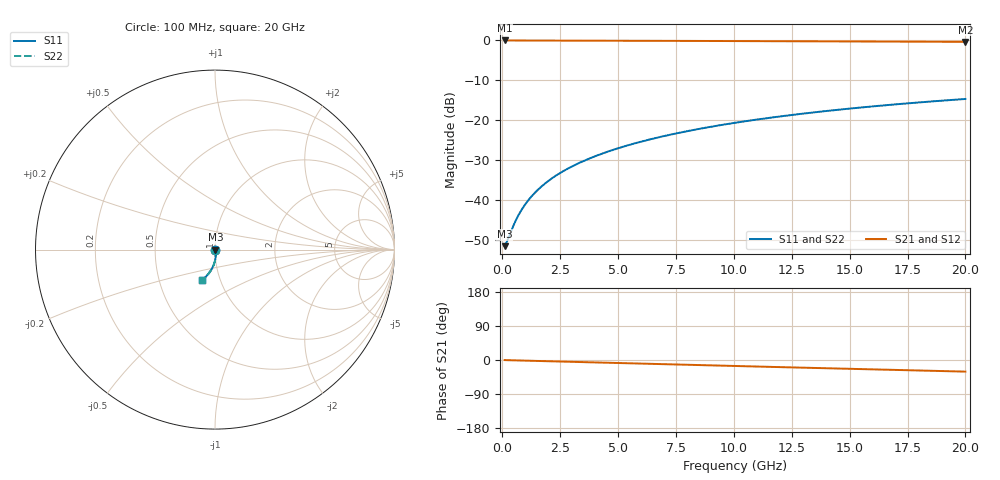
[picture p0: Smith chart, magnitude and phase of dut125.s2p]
! Touchstone file exported from HFSS 2026.1.0
!  File:  C:/ffzhzh/LocalFiles/Ansys_Project_Files/temp_train_TMRDL_125_1782982698_45328.aedt
!  Generated:  04:59:22 PM Jul  2, 2026
!  Design:  TMRDL
!  Project:  temp_train_TMRDL_125_1782982698_45328
! Variables:
!  h_bsmrdl = 2um
!  h_ox = 20um
!  h_rdl = 5um
!  h_sub = 80um
!  h_tmrdl = 3.75um
!  h_tsv = 80um
!  h_via = 3um
!  l_bsmrdl = 300um
!  l_sub = 902.95um
!  l_tmrdl = 502.95um
!  m_sub = 200um
!  pitch = 21.31um
!  r_tsv = 6um
!  s_tmrdl = 10um
!  w_bsmrdl = 18um
!  w_sub = 500um
!  w_tmrdl = 19.72um
!  x_tsv_center1 = 512.81um
!  x_tsv_center2 = 830.81um
!  x_tsv_center3 = 1353.48um
!  x_tsv_center4 = 1671.48um
!  x_tsv_center5 = 2194.15um
!  x_tsv_center6 = 2512.15um
# GHz S MA R 50.000000
! Terminal data exported
! Port[1] = TM_RDL1_1_T1
! Port[2] = TM_RDL1_1_T2
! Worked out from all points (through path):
!   200 points, 100 MHz to 20 GHz, reference 50 ohm
!   highest |S21| = -0.02 dB at 100 MHz (marker M1); lowest = -0.4 dB at 20 GHz (marker M2)
!   group delay of S21, straight-line fit = 4.24 ps
!   lowest |S11| = -51.4 dB at 100 MHz (marker M3), VSWR 1.01, Z = 50.3 - j0.0235 ohm
!   |S11| at or under -10 dB: start of sweep to end of sweep
!   |S22| runs from -51.4 to -14.6 dB; largest |S21 - S12| = 4e-15
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0.1  0.002681 -5.0  0.9973 -0.2  0.9973 -0.2  0.00268 -5.0
! Gamma 0 0 0 0
! Port Impedance 50 0 50 0
0.2  0.003057 -11.3  0.997 -0.4  0.997 -0.4  0.003057 -11.3
0.5  0.00498 -32.8  0.9958 -0.9  0.9958 -0.9  0.004979 -32.8
0.7  0.006537 -43.9  0.9952 -1.2  0.9952 -1.2  0.006535 -43.9
0.8  0.007348 -48.3  0.995 -1.4  0.995 -1.4  0.007346 -48.3
1  0.009007 -55.3  0.9946 -1.7  0.9946 -1.7  0.009005 -55.3
1.3  0.01155 -62.6  0.9942 -2.2  0.9942 -2.2  0.01155 -62.6
1.5  0.01327 -66.1  0.994 -2.5  0.994 -2.5  0.01326 -66.1
1.7  0.015 -68.9  0.9938 -2.8  0.9938 -2.8  0.01499 -68.9
2.2  0.01937 -74.0  0.9933 -3.6  0.9933 -3.6  0.01937 -74.0
2.8  0.02469 -78.0  0.9927 -4.6  0.9927 -4.6  0.02469 -78.0
3.5  0.031 -81.2  0.9918 -5.7  0.9918 -5.7  0.03099 -81.2
4.2  0.0374 -83.6  0.9908 -6.8  0.9908 -6.8  0.03739 -83.7
5  0.04484 -85.9  0.9896 -8.0  0.9896 -8.0  0.04482 -86.0
5.9  0.05332 -88.1  0.9881 -9.4  0.9881 -9.4  0.05331 -88.2
6.8  0.06191 -90.1  0.9865 -10.8  0.9865 -10.8  0.06189 -90.1
8.4  0.07734 -93.3  0.9835 -13.3  0.9835 -13.3  0.07731 -93.4
10.1  0.0938 -96.5  0.9802 -15.9  0.9802 -15.9  0.09377 -96.7
11.7  0.1092 -99.5  0.9769 -18.3  0.9769 -18.3  0.1092 -99.6
13.4  0.1254 -102.5  0.9733 -20.9  0.9733 -20.9  0.1254 -102.6
16.7  0.1561 -108.1  0.9659 -25.8  0.9659 -25.8  0.156 -108.3
20  0.1853 -113.4  0.9579 -30.7  0.9579 -30.7  0.1852 -113.7
